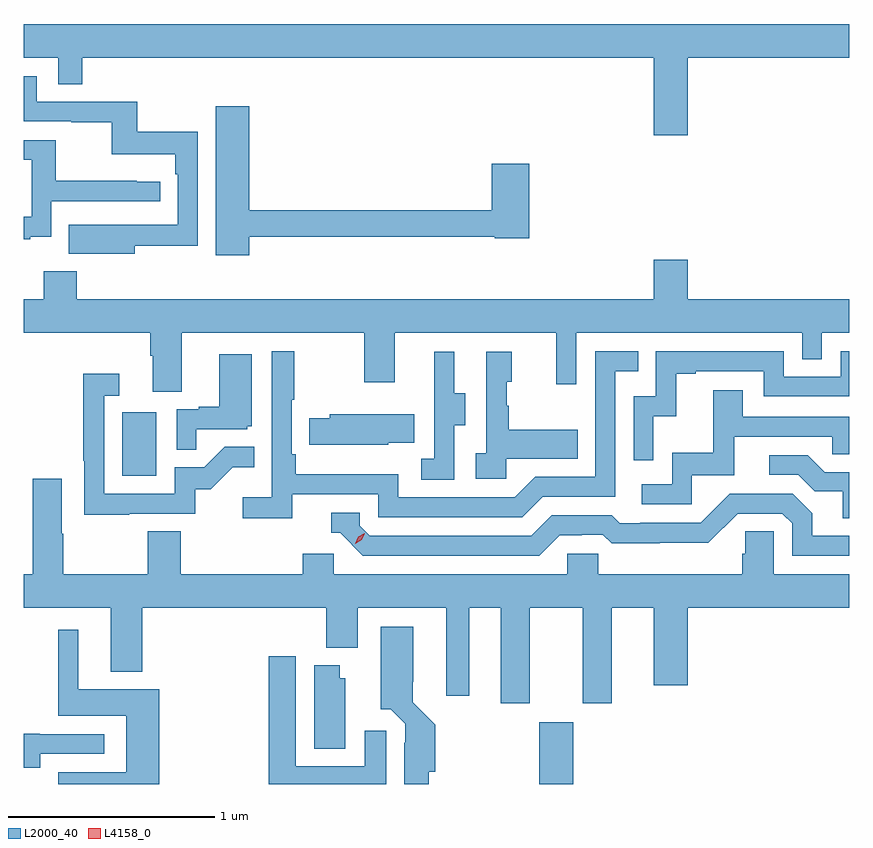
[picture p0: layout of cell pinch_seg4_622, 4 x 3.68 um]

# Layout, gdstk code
import gdstk
lib = gdstk.Library(unit=1e-6, precision=1e-09)
def R(c, l, rs):  # rectangles x0, y0, x1, y1
    for r in rs: c.add(gdstk.rectangle(r[:2], r[2:], *l))
def P(c, l, *ps):  # polygons
    for p in ps: c.add(gdstk.Polygon(p, *l))
L2000_40 = (2000, 40)
L4158_0 = (4158, 0)

pinch_seg4_622 = lib.new_cell('pinch_seg4_622')
R(pinch_seg4_622, L2000_40, [(1039.577,753.343,1039.741,753.643), (1037.558,754.836,1037.722,755.143)])
P(pinch_seg4_622, L2000_40, [(1040.296,756.86),(1041.079,756.86),(1041.079,757.024),(1037.079,757.024),(1037.079,756.86),(1037.247,756.86),(1037.247,756.733),(1037.363,756.733),(1037.363,756.86),(1040.132,756.86),(1040.132,756.486),(1040.296,756.486)],
  [(1037.617,755.95),(1037.922,755.95),(1037.922,756.502),(1037.629,756.502),(1037.629,756.648),(1037.142,756.648),(1037.142,756.771),(1037.079,756.771),(1037.079,756.552),(1037.311,756.552),(1037.311,756.547),(1037.507,756.547),(1037.507,756.392),(1037.813,756.392),(1037.813,756.296),(1037.826,756.296),(1037.826,756.051),(1037.513,756.051),(1037.513,756.052),(1037.299,756.052),(1037.299,755.912),(1037.617,755.912)],
  [(1038.172,755.994),(1039.362,755.994),(1039.362,755.986),(1039.529,755.986),(1039.529,756.346),(1039.346,756.346),(1039.346,756.122),(1038.172,756.122),(1038.172,756.625),(1038.011,756.625),(1038.011,755.904),(1038.172,755.904)],
  [(1037.111,755.993),(1037.214,755.993),(1037.214,756.165),(1037.74,756.165),(1037.74,756.261),(1037.627,756.261),(1037.627,756.266),(1037.234,756.266),(1037.234,756.462),(1037.079,756.462),(1037.079,756.366),(1037.118,756.366),(1037.118,756.09),(1037.079,756.09),(1037.079,755.982),(1037.111,755.982)],
  [(1037.176,755.827),(1037.176,755.692),(1037.079,755.692),(1037.079,755.528),(1037.693,755.528),(1037.693,755.416),(1037.705,755.416),(1037.705,755.242),(1037.845,755.242),(1037.845,755.528),(1038.73,755.528),(1038.73,755.289),(1038.877,755.289),(1038.877,755.528),(1039.658,755.528),(1039.658,755.28),(1039.755,755.28),(1039.755,755.528),(1040.85,755.528),(1040.85,755.401),(1040.946,755.401),(1040.946,755.528),(1041.079,755.528),(1041.079,755.692),(1040.296,755.692),(1040.296,755.881),(1040.132,755.881),(1040.132,755.692),(1037.336,755.692),(1037.336,755.827)],
  [(1038.38,754.746),(1038.798,754.746),(1038.798,754.635),(1039.495,754.635),(1039.594,754.734),(1039.944,754.734),(1039.944,755.343),(1040.057,755.343),(1040.057,755.439),(1039.848,755.439),(1039.848,754.83),(1039.557,754.83),(1039.458,754.731),(1038.894,754.731),(1038.894,754.843),(1038.397,754.843),(1038.397,754.939),(1038.378,754.939),(1038.378,755.203),(1038.391,755.203),(1038.391,755.44),(1038.282,755.44),(1038.282,754.732),(1038.141,754.732),(1038.141,754.63),(1038.38,754.63)],
  [(1040.13,755.123),(1040.24,755.123),(1040.24,755.331),(1040.335,755.331),(1040.335,755.343),(1040.664,755.343),(1040.664,755.22),(1041.079,755.22),(1041.079,755.439),(1041.036,755.439),(1041.036,755.316),(1040.76,755.316),(1040.76,755.439),(1040.142,755.439),(1040.142,755.22),(1040.034,755.22),(1040.034,754.911),(1040.13,754.911)],
  [(1039.164,755.08),(1039.219,755.08),(1039.219,755.235),(1039.165,755.235),(1039.165,755.437),(1039.067,755.437),(1039.067,755.223),(1039.068,755.223),(1039.068,754.919),(1039.005,754.919),(1039.005,754.816),(1039.164,754.816)],
  [(1039.416,754.919),(1039.763,754.919),(1039.763,755.059),(1039.429,755.059),(1039.429,755.174),(1039.419,755.174),(1039.419,755.292),(1039.444,755.292),(1039.444,755.437),(1039.32,755.437),(1039.32,754.946),(1039.269,754.946),(1039.269,754.821),(1039.416,754.821)],
  [(1037.915,755.061),(1038.162,755.061),(1038.162,755.076),(1038.184,755.076),(1038.184,755.425),(1038.026,755.425),(1038.026,755.17),(1037.927,755.17),(1037.927,755.157),(1037.82,755.157),(1037.82,754.963),(1037.915,754.963)],
  [(1037.591,754.653),(1037.91,754.653),(1037.91,754.77),(1037.986,754.77),(1038.093,754.877),(1038.197,754.877),(1038.197,754.976),(1038.053,754.976),(1037.955,754.878),(1037.811,754.878),(1037.811,754.749),(1037.469,754.749),(1037.469,755.223),(1037.542,755.223),(1037.542,755.329),(1037.368,755.329),(1037.368,754.909),(1037.373,754.909),(1037.373,754.648),(1037.591,754.648)],
  [(1040.316,754.839),(1040.521,754.839),(1040.521,755.025),(1040.995,755.025),(1040.995,754.941),(1041.079,754.941),(1041.079,755.121),(1040.563,755.121),(1040.563,755.251),(1040.419,755.251),(1040.419,754.948),(1040.22,754.948),(1040.22,754.794),(1040.073,754.794),(1040.073,754.698),(1040.316,754.698)],
  [(1038.846,754.997),(1038.971,754.997),(1038.971,755.134),(1038.561,755.134),(1038.561,755.115),(1038.463,755.115),(1038.463,754.985),(1038.846,754.985)],
  [(1041.079,754.854),(1040.959,754.854),(1040.878,754.935),(1040.691,754.935),(1040.691,754.842),(1040.832,754.842),(1040.912,754.762),(1041.047,754.762),(1041.047,754.63),(1041.079,754.63)],
  [(1039.531,754.196),(1039.787,754.196),(1039.787,753.735),(1039.927,753.735),(1039.927,754.196),(1040.132,754.196),(1040.132,753.822),(1040.296,753.822),(1040.296,754.196),(1041.079,754.196),(1041.079,754.36),(1040.712,754.36),(1040.712,754.568),(1040.575,754.568),(1040.575,754.458),(1040.561,754.458),(1040.561,754.36),(1039.863,754.36),(1039.863,754.458),(1039.713,754.458),(1039.713,754.36),(1038.582,754.36),(1038.582,754.458),(1038.43,754.458),(1038.43,754.36),(1037.84,754.36),(1037.84,754.568),(1037.68,754.568),(1037.68,754.36),(1037.271,754.36),(1037.271,754.556),(1037.263,754.556),(1037.263,754.822),(1037.123,754.822),(1037.123,754.36),(1037.079,754.36),(1037.079,754.196),(1037.501,754.196),(1037.501,753.887),(1037.654,753.887),(1037.654,754.196),(1038.545,754.196),(1038.545,754.004),(1038.697,754.004),(1038.697,754.196),(1039.127,754.196),(1039.127,753.771),(1039.237,753.771),(1039.237,754.196),(1039.391,754.196),(1039.391,753.735),(1039.531,753.735)],
  [(1039.675,754.548),(1039.782,754.548),(1039.782,754.551),(1039.885,754.551),(1039.927,754.509),(1040.16,754.509),(1040.16,754.511),(1040.396,754.511),(1040.538,754.653),(1040.754,754.653),(1040.802,754.605),(1040.802,754.449),(1041.079,754.449),(1041.079,754.545),(1040.899,754.545),(1040.899,754.655),(1040.805,754.749),(1040.499,754.749),(1040.358,754.608),(1040.065,754.608),(1040.065,754.605),(1039.966,754.605),(1039.927,754.644),(1039.638,754.644),(1039.539,754.545),(1038.756,754.545),(1038.708,754.593),(1038.708,754.656),(1038.569,754.656),(1038.569,754.56),(1038.612,754.56),(1038.723,754.449),(1039.576,754.449)],
  [(1039.042,753.402),(1039.073,753.402),(1039.073,753.63),(1038.963,753.739),(1038.963,753.838),(1038.967,753.838),(1038.967,754.105),(1038.809,754.105),(1038.809,753.706),(1038.857,753.706),(1038.927,753.636),(1038.927,753.542),(1038.923,753.542),(1038.923,753.343),(1039.042,753.343)],
  [(1037.735,753.802),(1037.344,753.802),(1037.344,754.09),(1037.246,754.09),(1037.246,753.674),(1037.576,753.674),(1037.576,753.399),(1037.246,753.399),(1037.246,753.343),(1037.735,753.343)],
  [(1038.835,753.601),(1038.731,753.601),(1038.731,753.429),(1038.397,753.429),(1038.397,753.961),(1038.266,753.961),(1038.266,753.343),(1038.835,753.343)],
  [(1038.637,753.855),(1038.61,753.855),(1038.61,753.919),(1038.488,753.919),(1038.488,753.514),(1038.637,753.514)],
  [(1037.161,753.489),(1037.47,753.489),(1037.47,753.585),(1037.157,753.585),(1037.157,753.586),(1037.079,753.586),(1037.079,753.421),(1037.161,753.421)])
P(pinch_seg4_622, L4158_0, [(1038.685,754.507),(1038.685,754.507),(1038.701,754.54),(1038.732,754.558),(1038.732,754.558),(1038.732,754.558),(1038.716,754.526),(1038.685,754.507)])

lib.write_gds('pinch_seg4_622.gds')
